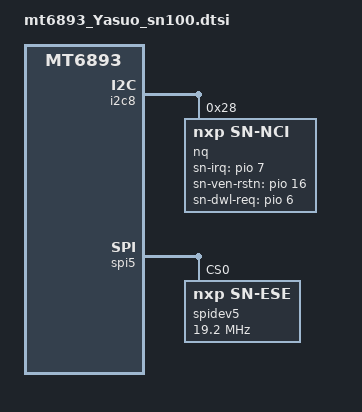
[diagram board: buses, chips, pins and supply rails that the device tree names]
/**********************************************************************************
* Copyright (c)  2008-2020  Guangdong oplus Mobile Comm Corp., Ltd
*
***********************************************************************************/
&odm {
	nfc_chipset:nfc_chipset {
		compatible = "oplus-nfc-chipset";
		chipset-20171 = "SN100T";
		chipset-20353 = "SN100T";
	};
};

//#ifdef OPLUS_FEATURE_NFC_BRINGUP
&i2c8 {
       status = "okay";
       nq@28 {
               compatible = "nxp,sn-nci";
               reg = <0x28>;
               nxp,sn-irq = <&pio 7 0x0>;
               nxp,sn-ven-rstn = <&pio 16 0x0>;
               nxp,sn-dwl-req = <&pio 6 0x0>;
               interrupt-parent = <&pio>;
       };
};

&spi5 {
       status = "okay";
       #address-cells = <1>;
       #size-cells = <0>;
       spidev5: p61@5 {
       compatible = "nxp,sn-ese";
       reg = <0>;
       spi-max-frequency = <19200000>;
       nxp,nfcc = "8-0028";
       };
};
//#endif /* OPLUS_FEATURE_NFC_BRINGUP */

